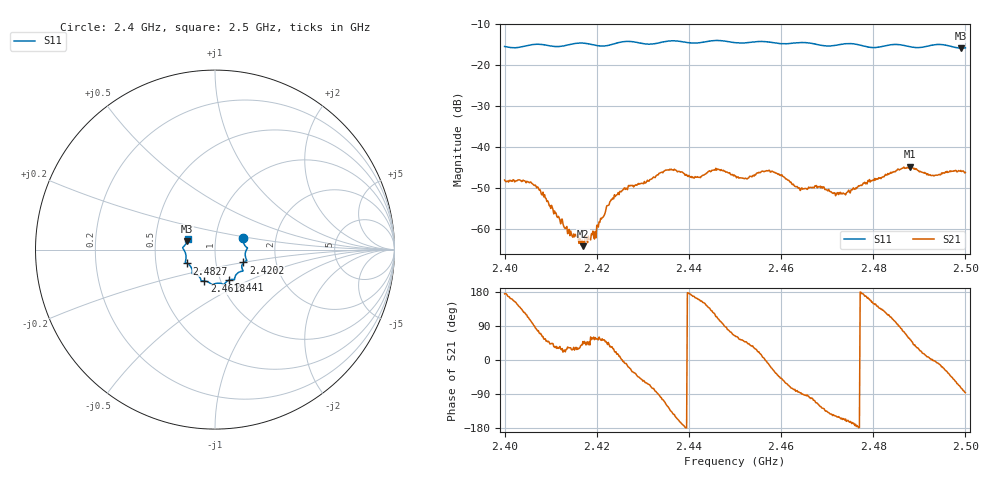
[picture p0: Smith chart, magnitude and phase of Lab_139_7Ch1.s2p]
# Hz S RI R 50
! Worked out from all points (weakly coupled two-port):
!   601 points, 2.4 GHz to 2.5 GHz, reference 50 ohm
!   highest |S21| = -44.72 dB at 2.488 GHz (marker M1); lowest = -64.1 dB at 2.417 GHz (marker M2)
!   lowest |S11| = -15.8 dB at 2.499 GHz (marker M3), VSWR 1.39, Z = 36.4 + j3.47 ohm
!   |S11| at or under -10 dB: start of sweep to end of sweep
!   S12 and S22 are empty: the file has one direction only
!   S11 on the Smith chart (normalised r, x): 2.4 GHz: 1.36, +0.18; 2.4202 GHz: 1.36, -0.20; 2.441 GHz: 1.10, -0.39; 2.4618 GHz: 0.84, -0.30; 2.4827 GHz: 0.72, -0.12; 2.5 GHz: 0.73, +0.09
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2.4e9  0.1582 0.0629  -0.00398 0.00038  0 0  0 0
2.406833e9  0.1808 0.00912  0.000415 0.0033  0 0  0 0
2.413333e9  0.17 -0.0428  0.000922 0.000486  0 0  0 0
2.416667e9  0.1773 -0.0608  0.000492 0.000404  0 0  0 0
2.417e9  0.1765 -0.0614  0.000412 0.000469  0 0  0 0
2.420167e9  0.1586 -0.0713  0.000654 0.00092  0 0  0 0
2.424167e9  0.1516 -0.1078  0.0024 0.000968  0 0  0 0
2.433333e9  0.1115 -0.1507  -5e-06 -0.00463  0 0  0 0
2.436333e9  0.1087 -0.1672  -0.00394 -0.00357  0 0  0 0
2.441e9  0.0788 -0.1697  -0.00416 0.000866  0 0  0 0
2.446167e9  0.0496 -0.1954  -0.00202 0.00506  0 0  0 0
2.45e9  0.0284 -0.1873  0.00197 0.00403  0 0  0 0
2.457e9  -0.02 -0.1929  0.00516 -0.000644  0 0  0 0
2.461833e9  -0.0592 -0.1754  0.00134 -0.00361  0 0  0 0
2.466667e9  -0.0786 -0.1682  -0.000584 -0.00317  0 0  0 0
2.4735e9  -0.1232 -0.1346  -0.00251 -0.00119  0 0  0 0
2.482667e9  -0.1558 -0.0772  -0.0027 0.00384  0 0  0 0
2.483333e9  -0.1602 -0.0751  -0.00232 0.00406  0 0  0 0
2.488e9  -0.1615 -0.0497  0.00343 0.00469  0 0  0 0
2.493e9  -0.1776 0.00474  0.00457 -0.000137  0 0  0 0
2.499e9  -0.1555 0.0464  0.00153 -0.00501  0 0  0 0
2.5e9  -0.1522 0.0607  0.000323 -0.00494  0 0  0 0
